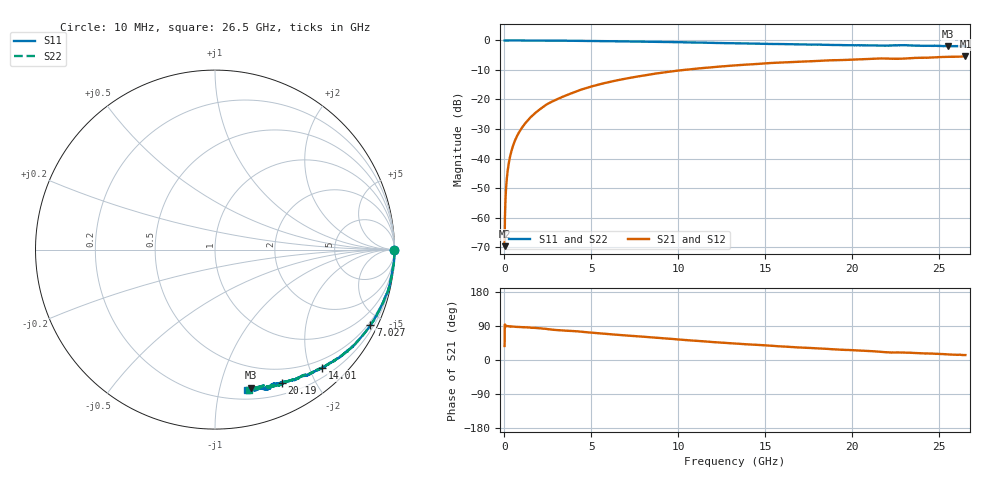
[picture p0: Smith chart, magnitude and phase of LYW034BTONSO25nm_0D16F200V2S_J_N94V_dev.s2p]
!Keysight Technologies,N5222B,MY61253708,A.15.00.15
!Date: Wednesday, June 19, 2024 09:34:17
!Correction: S11(C  2-Port  )
!S21(C  2-Port  )
!S12(C  2-Port  )
!S22(C  2-Port  )
!S2P File: Measurements: S11, S21, S12, S22:
# Hz S  RI  R 50
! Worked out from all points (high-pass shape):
!   2651 points, 10 MHz to 26.5 GHz, reference 50 ohm
!   highest |S21| = -5.38 dB at 26.5 GHz (marker M1); lowest = -69.7 dB at 10 MHz (marker M2)
!   |S21| within 3 dB of the highest: 13.4 GHz to end of sweep
!   lowest |S11| = -2.0 dB at 25.5 GHz (marker M3), VSWR 8.75, Z = 14.9 - j62.3 ohm
!   |S11| at or under -10 dB: nowhere
!   |S22| runs from -1.9 to 0.0 dB; largest |S21 - S12| = 0.0066
!   S11 on the Smith chart (normalised r, x): 10 MHz: open; 7.027 GHz: 0.37, -4.31; 14.01 GHz: 0.35, -2.20; 20.19 GHz: 0.33, -1.57; 26.5 GHz: 0.27, -1.22
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1e7  0.9989 -0.00233  0.000262 0.000197  -9.56e-05 -8.31e-05  0.9987 -0.00126
7.997358e7  0.9999 -0.00575  2.36e-05 0.00266  -1.35e-06 0.00266  0.9994 -0.00533
1.499472e8  0.9999 -0.0109  5.23e-05 0.005  6.92e-05 0.00505  0.9996 -0.0103
1.799358e8  0.9999 -0.0121  6.46e-05 0.00602  7.67e-05 0.00607  0.9996 -0.0116
2.29917e8  0.9996 -0.0161  0.000137 0.00767  0.000126 0.00772  0.9993 -0.0153
3.19883e8  0.9996 -0.0217  0.000251 0.0107  0.000275 0.0107  0.9993 -0.0207
4.398377e8  0.9991 -0.03  0.000436 0.0146  0.000444 0.0148  0.9993 -0.0293
5.997774e8  0.9986 -0.0403  0.000809 0.0199  0.0008 0.0201  0.999 -0.04
7.797094e8  0.9983 -0.0522  0.00134 0.0258  0.00137 0.026  0.9979 -0.0519
1.419468e9  0.9904 -0.0966  0.00332 0.0469  0.00342 0.0472  0.9933 -0.0936
2.319128e9  0.9816 -0.1518  0.00995 0.0778  0.0102 0.0783  0.9828 -0.1529
3.148815e9  0.9705 -0.2048  0.0207 0.1027  0.021 0.1035  0.9713 -0.2046
4.428332e9  0.9417 -0.2817  0.039 0.1423  0.0395 0.1433  0.9429 -0.2798
7.027351e9  0.8661 -0.421  0.0975 0.2051  0.0989 0.206  0.8672 -0.421
8.846664e9  0.8008 -0.5033  0.1465 0.2372  0.1482 0.238  0.8012 -0.5027
1.3255e10  0.624 -0.6425  0.2742 0.2605  0.2769 0.2602  0.6259 -0.6417
1.401471e10  0.5952 -0.6594  0.2941 0.258  0.296 0.2582  0.5953 -0.6581
1.767333e10  0.4516 -0.7208  0.3801 0.2319  0.3838 0.2301  0.4601 -0.7184
2.019238e10  0.3706 -0.7425  0.4281 0.2056  0.4311 0.2022  0.3821 -0.7404
2.209166e10  0.3167 -0.7526  0.4621 0.1694  0.4641 0.1663  0.3087 -0.7584
2.550038e10  0.1981 -0.7698  0.5106 0.1326  0.5122 0.1321  0.2168 -0.7721
2.65e10  0.179 -0.7841  0.5241 0.1215  0.5237 0.1175  0.1905 -0.7817
